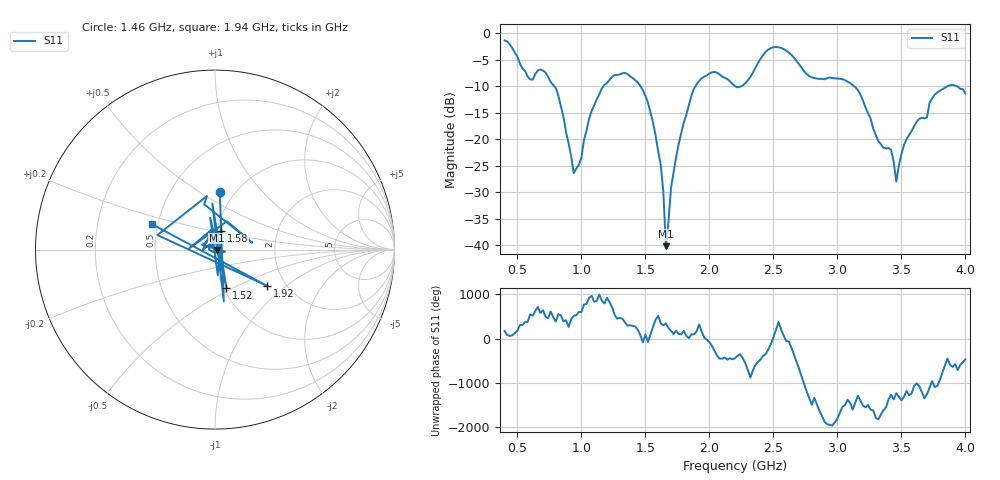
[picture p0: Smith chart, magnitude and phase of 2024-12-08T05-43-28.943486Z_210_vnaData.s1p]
!Created with skrf (http://scikit-rf.org).
# Hz S RI R 50.0
!freq ReS11 ImS11
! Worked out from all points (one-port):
!   181 points, 400 MHz to 4 GHz, reference 50 ohm
!   lowest |S11| = -40.2 dB at 1.66 GHz (marker M1), VSWR 1.02, Z = 51 - j0.254 ohm
!   |S11| at or under -10 dB: 788.2 MHz to 1.171 GHz (383.1 MHz wide, 39.1 % of centre); 1.463 GHz to 1.89 GHz (427.6 MHz wide, 25.5 % of centre); 3.132 GHz to 3.857 GHz (724.8 MHz wide, 20.7 % of centre) (the widest 3 of 5)
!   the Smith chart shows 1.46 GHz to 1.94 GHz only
!   S11 on the Smith chart (normalised r, x): 1.46 GHz: 0.86, +0.61; 1.52 GHz: 1.03, -0.46; 1.58 GHz: 1.05, +0.22; 1.92 GHz: 1.61, -0.75; 1.94 GHz: 0.47, +0.15
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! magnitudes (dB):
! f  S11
! 400 MHz  -1.3
! 600 MHz  -8.7
! 720 MHz  -7.4
! 800 MHz  -10.3
! 860 MHz  -15.8
! 940 MHz  -26.4
! 1.16 GHz  -10.4
! 1.3 GHz  -7.7
! 1.46 GHz  -9.9
! 1.52 GHz  -13.1
! 1.58 GHz  -19.3
! 1.64 GHz  -29.9
! 1.66 GHz  -40.2
! 1.7 GHz  -29.2
! 1.76 GHz  -20.9
! 1.92 GHz  -9.0
! 1.94 GHz  -8.5
! 2.2 GHz  -10.0
! 2.48 GHz  -2.8
! 2.66 GHz  -4.6
! 2.78 GHz  -8.1
! 3.1 GHz  -9.4
! 3.32 GHz  -20.3
! 3.42 GHz  -22.0
! 3.46 GHz  -28.0
! 3.56 GHz  -19.2
! 3.78 GHz  -11.2
! 4 GHz  -11.3
